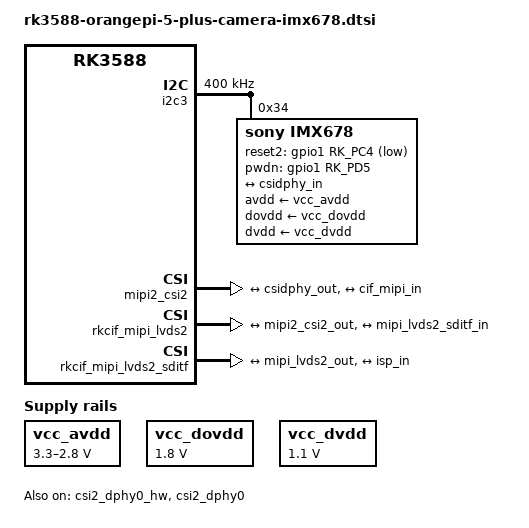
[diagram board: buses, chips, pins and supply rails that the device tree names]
// SPDX-License-Identifier: (GPL-2.0+ OR MIT)
/*
 * Copyright (c) 2021 Rockchip Electronics Co., Ltd.
 *
 */

/ {
vcc_avdd: camera-avdd-reg {
    compatible = "regulator-fixed";
    regulator-name = "camera-avdd";
    regulator-min-microvolt = <3300000>;
    regulator-max-microvolt = <2800000>;
    regulator-boot-on;
    regulator-always-on;
};

vcc_dovdd: camera-dovdd-reg {
    compatible = "regulator-fixed";
    regulator-name = "camera-dovdd";
    regulator-min-microvolt = <1800000>;
    regulator-max-microvolt = <1800000>;
    regulator-boot-on;
    regulator-always-on;
};

vcc_dvdd: camera-dvdd-reg {
    compatible = "regulator-fixed";
    regulator-name = "camera-dvdd";
    regulator-min-microvolt = <1100000>;
    regulator-max-microvolt = <1100000>;
    regulator-boot-on;
    regulator-always-on;
};
};



&i2c3 {
	status = "okay";
	pinctrl-names = "default";
	pinctrl-0 = <&i2c3m0_xfer>;


// added for imx678

	clock-frequency = <400000>;
	/delete-node/ ar0230@10;
	/delete-node/ ov4689@36;
	/delete-node/ os04a10@36;
	/delete-node/ ov2718@10;
	/delete-node/ gc2053@37;
	
	imx678: imx678@60 {
		status = "okay";
		compatible = "sony,imx678";
		reg = <0x34>;
		//clocks = <&cru CLK_MIPICSI_OUT>;
		clocks = <&cru CLK_MIPI_CAMARAOUT_M3>;	
		clock-names = "xvclk";
		//power-domains = <&power RV1126_PD_VI>;
		pinctrl-names = "default";
		//pinctrl-0 = <&mipicsi_clk0>;
		pinctrl-0 = <&mipim1_camera3_clk>;
		
		avdd-supply = <&vcc_avdd>;
		dovdd-supply = <&vcc_dovdd>;
		dvdd-supply = <&vcc_dvdd>;

		//pwdn-gpios = <&gpio1 RK_PD6 GPIO_ACTIVE_HIGH>;
        //reset-gpios = <&gpio1 RK_PD7 GPIO_ACTIVE_LOW>;  
        reset2-gpios = <&gpio1 RK_PC4 GPIO_ACTIVE_LOW>;
    	pwdn-gpios = <&gpio1 RK_PD5 GPIO_ACTIVE_HIGH>;

		rockchip,camera-module-index = <0>;
		rockchip,camera-module-facing = "front";
		rockchip,camera-module-name = "imx678-module";
		rockchip,camera-module-lens-name = "default";
		//ir-cut = <&cam_ircut0>;
		
		port {
			//reg = <0>;
       	        	#address-cells = <1>;
	                #size-cells = <0>;
			imx678_ucam_out: endpoint@0 {
				reg = <0>;
				remote-endpoint = <&csidphy_in>;
				bus-type = <4>;
				data-lanes = <1 2 3 4>; 
				clock-lanes = <0>;
		        link-frequencies = /bits/ 64 <400000000>;
			};
		};
	};
// end add

};  


&csi2_dphy0_hw {
	status = "okay";
};

// add for imx678
&csi2_dphy0 { 
	status = "okay";
	ports {
	    
		#address-cells = <1>;
		#size-cells = <0>;
		port@0 {
			reg = <0>;
		        #address-cells = <1>;
		        #size-cells = <0>;
			csidphy_in: endpoint@0 {
				reg = <0>;
				remote-endpoint = <&imx678_ucam_out>;
				bus-type = <4>;
				clock-lanes = <0>;
				data-lanes = <1 2 3 4>;
			};
		};
		port@1 {
			reg = <1>;
		        #address-cells = <1>;
		        #size-cells = <0>;
			csidphy_out: endpoint@0 {
				reg = <0>;
				remote-endpoint = <&mipi2_csi2_in>;
				clock-lanes = <0>;
				bus-type = <4>;
				data-lanes = <1 2 3 4>;
			};
		};
	};
};

// end add


&mipi2_csi2 {
	status = "okay";
	ports {
		
		#address-cells = <1>;
		#size-cells = <0>;
		
		port@0 {
			reg = <0>;
			#address-cells = <1>;
			#size-cells = <0>;
			mipi2_csi2_in: endpoint@0 {
				reg = <0>;
				remote-endpoint = <&csidphy_out>;
				//bus-type = <4>;             // V4L2_MBUS_CSI2_DPHY
				//data-lanes = <1 2>;
			};
		};
		port@1 { 
			reg = <1>;
			#address-cells = <1>;
			#size-cells = <0>;
			mipi2_csi2_out: endpoint@0 {
				reg = <0>;
				remote-endpoint = <&cif_mipi_in>;
				//remote-endpoint = <&isp_in>;
				//bus-type = <4>;             // V4L2_MBUS_CSI2_DPHY
				//data-lanes = <1 2>;
			};
		};
	};
};

&rkcif_mipi_lvds2 {
	status = "okay";
	ports {
		#address-cells = <1>;
		#size-cells = <0>;
		/* Input from mipi2_csi2 */
		port@0 {
			reg = <0>;
	                #address-cells = <1>;
	                #size-cells = <0>;
			cif_mipi_in: endpoint@0 {
				reg = <0>;
				remote-endpoint = <&mipi2_csi2_out>;
			};
		};

		/* Output to rkcif_mipi_lvds2_sditf */
		port@1 {
			reg = <1>;
	                #address-cells = <1>;
        	        #size-cells = <0>;
			mipi_lvds2_out: endpoint@0 {
				reg = <0>;
				remote-endpoint = <&mipi_lvds2_sditf_in>;
			};
		};
	};
};

&rkcif_mipi_lvds2_sditf { 
	status = "okay";
	ports {
		
		#address-cells = <1>;
		#size-cells = <0>;
		/* Input from rkcif_mipi_lvds2 */
		port@0 {
			reg = <0>;
	                #address-cells = <1>;
        	        #size-cells = <0>;
			mipi_lvds2_sditf_in: endpoint@0 {
				reg = <0>;
				remote-endpoint = <&mipi_lvds2_out>; 
			};
		};

		/* Output to ISP */
		port@1 {
			reg = <1>;
        	        #address-cells = <1>;
	                #size-cells = <0>;
			mipi_lvds2_sditf_out: endpoint@0 {
				reg = <0>;
				remote-endpoint = <&isp_in>;
			};
		};
	};
};


// added for og02b1b
&rkisp0_vir2 {
	ports {
        #address-cells = <1>;
        #size-cells = <0>;
		port@0 {
			isp_in: endpoint@0 {
				//remote-endpoint = <&mipi2_csi2_output>;
				remote-endpoint = <&mipi_lvds2_sditf_out>;
			};
		};
	};
};
//end add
